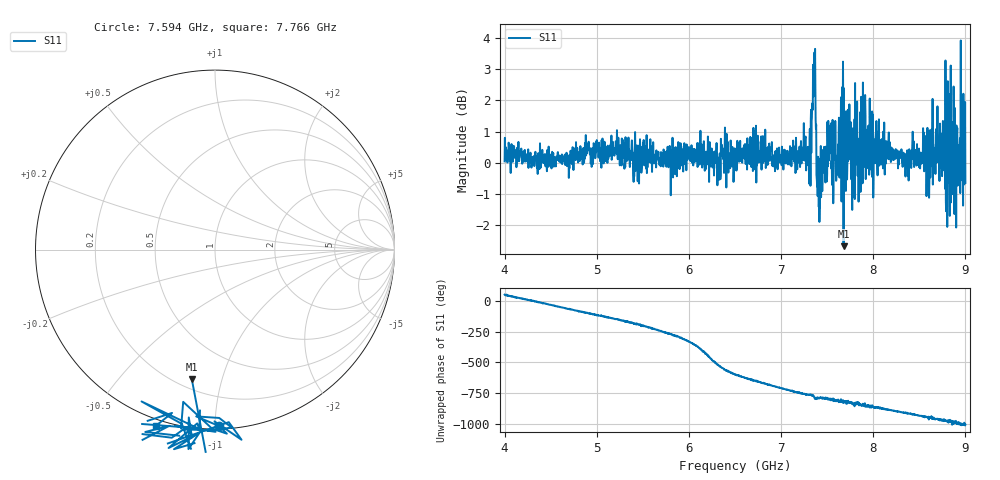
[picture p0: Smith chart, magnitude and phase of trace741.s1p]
! Created with skrf 1.8.0 (http://scikit-rf.org).
# Hz S RI R 50.0
!freq ReS11 ImS11
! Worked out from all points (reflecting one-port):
!   1601 points, 4 GHz to 9 GHz, reference 50 ohm
!   lowest |S11| = -2.7 dB at 7.678 GHz (marker M1), VSWR 6.53, Z = 12.8 - j40.2 ohm
!   phase of S11 starts at 50 deg and turns -1055 deg over the sweep
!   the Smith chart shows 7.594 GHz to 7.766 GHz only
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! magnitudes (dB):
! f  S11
! 4 GHz  0.0
! 4.625 GHz  0.0
! 5.25 GHz  -0.1
! 5.875 GHz  0.1
! 6.378 GHz  0.3
! 6.5 GHz  0.1
! 6.725 GHz  0.3
! 7.125 GHz  0.3
! 7.294 GHz  0.2
! 7.356 GHz  3.0
! 7.409 GHz  -1.4
! 7.519 GHz  0.1
! 7.591 GHz  0.8
! 7.638 GHz  1.0
! 7.65 GHz  2.1
! 7.678 GHz  -2.7
! 7.75 GHz  0.7
! 7.788 GHz  0.5
! 7.8 GHz  -1.2
! 7.853 GHz  0.5
! 7.891 GHz  0.7
! 8.375 GHz  0.0
! 8.759 GHz  0.5
! 8.806 GHz  -0.6
! 8.834 GHz  2.1
! 8.919 GHz  -0.5
! 8.972 GHz  0.6
! 9 GHz  -0.6
